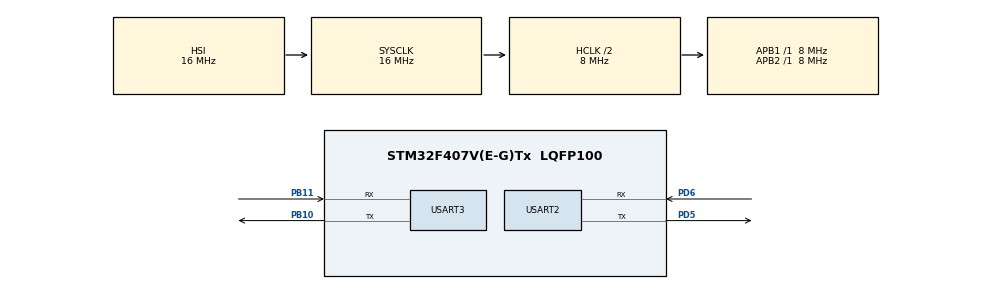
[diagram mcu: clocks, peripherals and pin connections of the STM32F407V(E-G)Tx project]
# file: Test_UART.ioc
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Mcu.Family=STM32F4
Mcu.Name=STM32F407V(E-G)Tx
Mcu.Package=LQFP100
NVIC.PriorityGroup=NVIC_PRIORITYGROUP_4
NVIC.USART2_IRQn=true\:0\:0\:false\:false\:true\:true
NVIC.USART3_IRQn=true\:0\:0\:false\:false\:true\:true
PB10.Mode=Asynchronous
PB10.Signal=USART3_TX
PB11.Mode=Asynchronous
PB11.Signal=USART3_RX
PD5.Mode=Asynchronous
PD5.Signal=USART2_TX
PD6.Mode=Asynchronous
PD6.Signal=USART2_RX
ProjectManager.HeapSize=0x200
ProjectManager.StackSize=0x400
ProjectManager.TargetToolchain=SW4STM32
RCC.AHBCLKDivider=RCC_SYSCLK_DIV2
RCC.AHBFreq_Value=8000000
RCC.APB1Freq_Value=8000000
RCC.APB1TimFreq_Value=8000000
RCC.APB2Freq_Value=8000000
RCC.APB2TimFreq_Value=8000000
RCC.CortexFreq_Value=8000000
RCC.HCLKFreq_Value=8000000
RCC.HSE_VALUE=25000000
RCC.HSI_VALUE=16000000
RCC.LSE_VALUE=32768
RCC.SYSCLKFreq_VALUE=16000000
RCC.VCOOutputFreq_Value=192000000
USART2.VirtualMode=VM_ASYNC
USART3.VirtualMode=VM_ASYNC
board=custom

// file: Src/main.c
/* USER CODE BEGIN Header */
/**
  ******************************************************************************
  * @file           : main.c
  * @brief          : Main program body
  ******************************************************************************
  ** This notice applies to any and all portions of this file
  * that are not between comment pairs USER CODE BEGIN and
  * USER CODE END. Other portions of this file, whether
  * inserted by the user or by software development tools
  * are owned by their respective copyright owners.
  *
  * COPYRIGHT(c) 2019 STMicroelectronics
  *
  * Redistribution and use in source and binary forms, with or without modification,
  * are permitted provided that the following conditions are met:
  *   1. Redistributions of source code must retain the above copyright notice,
  *      this list of conditions and the following disclaimer.
  *   2. Redistributions in binary form must reproduce the above copyright notice,
  *      this list of conditions and the following disclaimer in the documentation
  *      and/or other materials provided with the distribution.
  *   3. Neither the name of STMicroelectronics nor the names of its contributors
  *      may be used to endorse or promote products derived from this software
  *      without specific prior written permission.
  *
  * THIS SOFTWARE IS PROVIDED BY THE COPYRIGHT HOLDERS AND CONTRIBUTORS "AS IS"
  * AND ANY EXPRESS OR IMPLIED WARRANTIES, INCLUDING, BUT NOT LIMITED TO, THE
  * IMPLIED WARRANTIES OF MERCHANTABILITY AND FITNESS FOR A PARTICULAR PURPOSE ARE
  * DISCLAIMED. IN NO EVENT SHALL THE COPYRIGHT HOLDER OR CONTRIBUTORS BE LIABLE
  * FOR ANY DIRECT, INDIRECT, INCIDENTAL, SPECIAL, EXEMPLARY, OR CONSEQUENTIAL
  * DAMAGES (INCLUDING, BUT NOT LIMITED TO, PROCUREMENT OF SUBSTITUTE GOODS OR
  * SERVICES; LOSS OF USE, DATA, OR PROFITS; OR BUSINESS INTERRUPTION) HOWEVER
  * CAUSED AND ON ANY THEORY OF LIABILITY, WHETHER IN CONTRACT, STRICT LIABILITY,
  * OR TORT (INCLUDING NEGLIGENCE OR OTHERWISE) ARISING IN ANY WAY OUT OF THE USE
  * OF THIS SOFTWARE, EVEN IF ADVISED OF THE POSSIBILITY OF SUCH DAMAGE.
  *
  ******************************************************************************
  */
/* USER CODE END Header */

#include "main.h"

UART_HandleTypeDef huart2;
UART_HandleTypeDef huart3;

/* USER CODE BEGIN PV */
uint8_t welcomeMessage[] = "Thank you for choosing XMixer Max!\n";
uint8_t selectMessage[] = "Please select the drinks with their ratios.\n";
uint8_t updateMessage[] = "Updating drink information...\n";
uint8_t receiveMessage[] = "Receiving message...\n";
uint8_t errorMessage[] = "Error receiving message!\n";
uint8_t reply[] = "I received: ";
uint8_t pData;
uint8_t buffer[100];
int i = 0;
int LF = 0;
/* USER CODE END PV */

void SystemClock_Config(void);
static void MX_GPIO_Init(void);
static void MX_USART2_UART_Init(void);
static void MX_USART3_UART_Init(void);

int main(void)
{

  /* MCU Configuration--------------------------------------------------------*/

  /* Reset of all peripherals, Initializes the Flash interface and the Systick. */
  HAL_Init();

  /* Configure the system clock */
  SystemClock_Config();

  /* Initialize all configured peripherals */
  MX_GPIO_Init();
  MX_USART2_UART_Init();
  MX_USART3_UART_Init();
  /* USER CODE BEGIN 2 */
  //HAL_UART_Receive_IT(&huart1, &pData, 1);
  HAL_UART_Receive_IT(&huart2, &pData, 1);
  HAL_UART_Transmit(&huart3, welcomeMessage, sizeof(welcomeMessage), 100);
  HAL_UART_Transmit(&huart3, selectMessage, sizeof(selectMessage), 100);
  HAL_UART_Transmit(&huart3, updateMessage, sizeof(updateMessage), 100);
  /* USER CODE END 2 */

  /* Infinite loop */
  while (1)
  {

    /* USER CODE BEGIN 3 */
	  if (LF == 1) {
		  LF = 0;
//		  if (buffer[i] == 'c') {
//			  HAL_UART_Transmit(&huart3, receiveMessage, sizeof(receiveMessage), 100);
//		  } else {
		  HAL_UART_Transmit(&huart3, reply, sizeof(reply), 100);
		  HAL_UART_Transmit(&huart3, buffer, sizeof(buffer), 100);
		  HAL_UART_Transmit(&huart3, "\n", sizeof("\n"), 100);
//		  }
		  i = 0;
		  HAL_UART_Receive_IT(&huart2, &pData, 1);
	  }
  }
  /* USER CODE END 3 */
}

void SystemClock_Config(void)
{
  RCC_OscInitTypeDef RCC_OscInitStruct = {0};
  RCC_ClkInitTypeDef RCC_ClkInitStruct = {0};

  /**Configure the main internal regulator output voltage
  */
  __HAL_RCC_PWR_CLK_ENABLE();
  __HAL_PWR_VOLTAGESCALING_CONFIG(PWR_REGULATOR_VOLTAGE_SCALE1);
  /**Initializes the CPU, AHB and APB busses clocks
  */
  RCC_OscInitStruct.OscillatorType = RCC_OSCILLATORTYPE_HSI;
  RCC_OscInitStruct.HSIState = RCC_HSI_ON;
  RCC_OscInitStruct.HSICalibrationValue = RCC_HSICALIBRATION_DEFAULT;
  RCC_OscInitStruct.PLL.PLLState = RCC_PLL_NONE;
  if (HAL_RCC_OscConfig(&RCC_OscInitStruct) != HAL_OK)
  {
    Error_Handler();
  }
  /**Initializes the CPU, AHB and APB busses clocks
  */
  RCC_ClkInitStruct.ClockType = RCC_CLOCKTYPE_HCLK|RCC_CLOCKTYPE_SYSCLK
                              |RCC_CLOCKTYPE_PCLK1|RCC_CLOCKTYPE_PCLK2;
  RCC_ClkInitStruct.SYSCLKSource = RCC_SYSCLKSOURCE_HSI;
  RCC_ClkInitStruct.AHBCLKDivider = RCC_SYSCLK_DIV2;
  RCC_ClkInitStruct.APB1CLKDivider = RCC_HCLK_DIV1;
  RCC_ClkInitStruct.APB2CLKDivider = RCC_HCLK_DIV1;

  if (HAL_RCC_ClockConfig(&RCC_ClkInitStruct, FLASH_LATENCY_0) != HAL_OK)
  {
    Error_Handler();
  }
}

static void MX_USART2_UART_Init(void)
{

  huart2.Instance = USART2;
  huart2.Init.BaudRate = 115200;
  huart2.Init.WordLength = UART_WORDLENGTH_8B;
  huart2.Init.StopBits = UART_STOPBITS_1;
  huart2.Init.Parity = UART_PARITY_NONE;
  huart2.Init.Mode = UART_MODE_TX_RX;
  huart2.Init.HwFlowCtl = UART_HWCONTROL_NONE;
  huart2.Init.OverSampling = UART_OVERSAMPLING_16;
  if (HAL_UART_Init(&huart2) != HAL_OK)
  {
    Error_Handler();
  }

}

static void MX_USART3_UART_Init(void)
{

  huart3.Instance = USART3;
  huart3.Init.BaudRate = 115200;
  huart3.Init.WordLength = UART_WORDLENGTH_8B;
  huart3.Init.StopBits = UART_STOPBITS_1;
  huart3.Init.Parity = UART_PARITY_NONE;
  huart3.Init.Mode = UART_MODE_TX_RX;
  huart3.Init.HwFlowCtl = UART_HWCONTROL_NONE;
  huart3.Init.OverSampling = UART_OVERSAMPLING_16;
  if (HAL_UART_Init(&huart3) != HAL_OK)
  {
    Error_Handler();
  }

}

static void MX_GPIO_Init(void)
{

  /* GPIO Ports Clock Enable */
  __HAL_RCC_GPIOB_CLK_ENABLE();
  __HAL_RCC_GPIOD_CLK_ENABLE();

}

/* USER CODE BEGIN 4 */
void HAL_UART_RxCpltCallback(UART_HandleTypeDef *huart)
{
	//HAL_UART_Transmit(&huart2, selectMessage, sizeof(selectMessage), 100);
	if (pData == '\r') {
		i--;
		LF = 1;
	} else {
		buffer[i] = pData;
		i++;
		HAL_UART_Receive_IT(&huart2, &pData, 1);
	}

}
/* USER CODE END 4 */

void Error_Handler(void)
{
}

/************************ (C) COPYRIGHT STMicroelectronics *****END OF FILE****/
